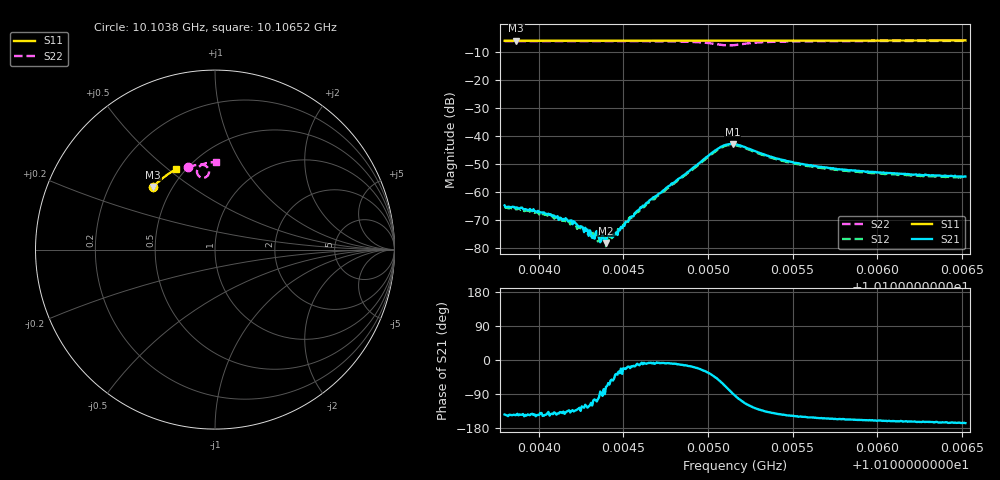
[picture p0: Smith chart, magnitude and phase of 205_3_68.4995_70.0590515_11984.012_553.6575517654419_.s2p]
#  HZ  S  RI  R  50.00
! Rohde & Schwarz Vector Network Analyzer
! Rohde-Schwarz,ZNB20-2Port,1311601062101988,3.16
! Created: UTC 3/20/2024, 5:12:55 PM
! freq[Hz]  re:S11  im:S11  re:S21  im:S21  re:S12  im:S12  re:S22  im:S22
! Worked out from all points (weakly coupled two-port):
!   401 points, 10.1038 GHz to 10.10652 GHz, reference 50 ohm
!   highest |S21| = -42.89 dB at 10.10515 GHz (marker M1); lowest = -78.0 dB at 10.1044 GHz (marker M2)
!   lowest |S11| = -6.2 dB at 10.10387 GHz (marker M3), VSWR 2.92, Z = 19.7 + j18.1 ohm
!   |S11| at or under -10 dB: nowhere
!   |S22| runs from -7.8 to -6.2 dB; largest |S21 - S12| = 0.00076
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1.0103799e10  -0.3473 0.346  -0.00047 -0.000342  -0.000418 -0.000352  -0.151 0.4583
1.0103867e10  -0.3442 0.349  -0.000441 -0.000304  -0.000391 -0.000299  -0.1465 0.46
1.010401e10  -0.3385 0.3555  -0.000335 -0.000281  -0.000329 -0.000293  -0.1369 0.463
1.0104118e10  -0.3339 0.3602  -0.00025 -0.000201  -0.000238 -0.000258  -0.1295 0.4655
1.01042e10  -0.3303 0.3636  -0.000181 -0.0002  -0.000183 -0.000207  -0.1234 0.467
1.0104255e10  -0.328 0.366  -0.000129 -0.000203  -0.000143 -0.000198  -0.1196 0.468
1.0104316e10  -0.3252 0.3685  -7.73e-05 -0.000133  -8.56e-05 -0.000183  -0.1149 0.4693
1.010435e10  -0.3238 0.3702  -4.12e-05 -0.000169  -3.47e-06 -0.000133  -0.1122 0.4698
1.0104377e10  -0.3226 0.3712  -1.41e-05 -0.000171  -5.93e-06 -0.000156  -0.1101 0.4704
1.0104397e10  -0.3218 0.372  4.15e-05 -0.000119  3.06e-05 -0.000106  -0.1087 0.4707
1.0104411e10  -0.3211 0.3725  8.08e-05 -0.000146  5.24e-05 -0.000133  -0.1075 0.4709
1.0104452e10  -0.3193 0.3744  0.000146 -0.000117  0.000156 -8.53e-05  -0.1041 0.4716
1.0104588e10  -0.3132 0.3799  0.00047 -0.000102  0.000437 -8.47e-05  -0.092 0.4733
1.0104711e10  -0.3076 0.3848  0.000933 -0.000121  0.000892 -4.49e-05  -0.0792 0.4737
1.0105044e10  -0.2918 0.3975  0.00384 -0.00399  0.00403 -0.00345  -0.0332 0.4288
1.0105098e10  -0.2892 0.3994  0.00261 -0.00633  0.00311 -0.00583  -0.0482 0.4055
1.0105146e10  -0.2871 0.4011  0.000177 -0.00717  0.000834 -0.00688  -0.0749 0.401
1.010516e10  -0.2865 0.4015  -0.000487 -0.00707  0.000156 -0.00686  -0.0819 0.4036
1.0105411e10  -0.2748 0.4112  -0.00312 -0.00239  -0.0028 -0.00257  -0.0859 0.4647
1.0105616e10  -0.2645 0.4181  -0.0026 -0.00141  -0.00238 -0.00155  -0.065 0.4766
1.0106072e10  -0.2413 0.4334  -0.00207 -0.000728  -0.00191 -0.000852  -0.0284 0.4854
1.0106521e10  -0.2177 0.4469  -0.00184 -0.000441  -0.00171 -0.000591  0.00302 0.4881
